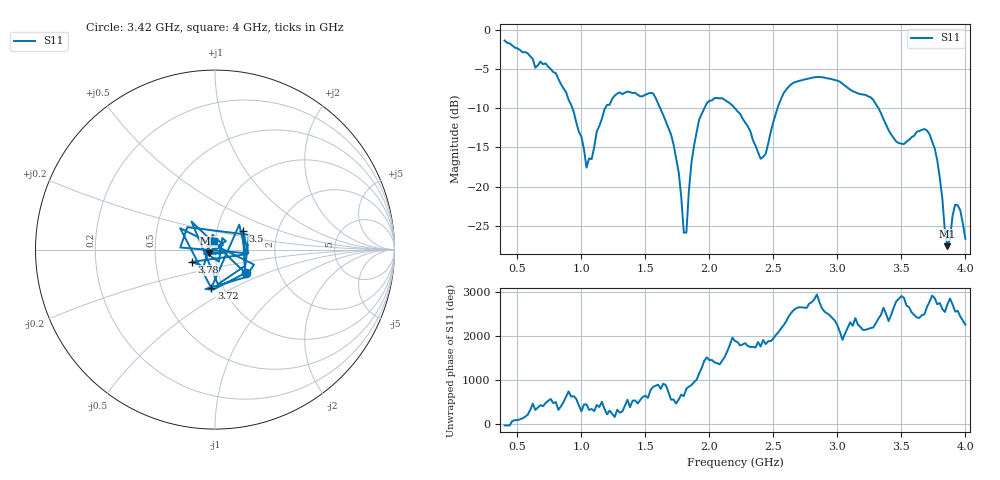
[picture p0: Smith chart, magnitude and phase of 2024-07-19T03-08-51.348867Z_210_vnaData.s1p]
!Created with skrf (http://scikit-rf.org).
# Hz S RI R 50.0
!freq ReS11 ImS11
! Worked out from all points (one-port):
!   181 points, 400 MHz to 4 GHz, reference 50 ohm
!   lowest |S11| = -27.6 dB at 3.86 GHz (marker M1), VSWR 1.09, Z = 46.5 - j1.96 ohm
!   |S11| at or under -10 dB: 1.616 GHz to 1.962 GHz (345.9 MHz wide, 19.3 % of centre); 2.198 GHz to 2.532 GHz (334.1 MHz wide, 14.1 % of centre); 3.321 GHz to end of sweep (the widest 3 of 4)
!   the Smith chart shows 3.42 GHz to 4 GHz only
!   S11 on the Smith chart (normalised r, x): 3.42 GHz: 1.35, -0.37; 3.5 GHz: 1.33, +0.29; 3.72 GHz: 0.88, -0.39; 3.78 GHz: 0.76, -0.11; 4 GHz: 0.98, +0.09
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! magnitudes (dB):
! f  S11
! 400 MHz  -1.4
! 860 MHz  -7.5
! 1 GHz  -13.6
! 1.04 GHz  -17.6
! 1.18 GHz  -10.2
! 1.3 GHz  -8.0
! 1.56 GHz  -8.1
! 1.7 GHz  -13.3
! 1.76 GHz  -18.2
! 1.8 GHz  -25.9
! 1.82 GHz  -25.9
! 1.86 GHz  -16.9
! 1.92 GHz  -11.5
! 2.04 GHz  -8.7
! 2.2 GHz  -10.0
! 2.4 GHz  -16.5
! 2.56 GHz  -8.8
! 2.66 GHz  -6.7
! 3.1 GHz  -7.6
! 3.28 GHz  -8.9
! 3.42 GHz  -13.4
! 3.5 GHz  -14.5
! 3.56 GHz  -14.0
! 3.72 GHz  -13.3
! 3.78 GHz  -16.6
! 3.86 GHz  -27.6
! 3.92 GHz  -22.3
! 4 GHz  -26.7
